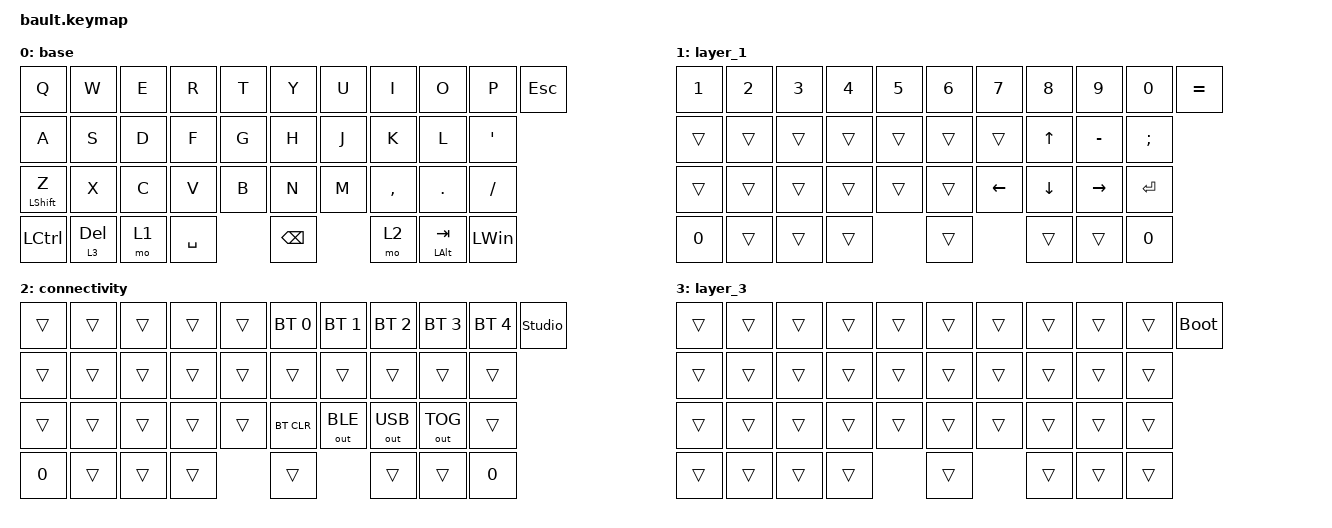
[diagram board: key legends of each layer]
#include <behaviors.dtsi>
#include <dt-bindings/zmk/bt.h>
#include <dt-bindings/zmk/keys.h>
#include <dt-bindings/zmk/outputs.h>

/ {
    behaviors {
        hm: homerow_mods {
            compatible = "zmk,behavior-hold-tap";
            display-name = "Homerow Mods";
            bindings = <&kp>, <&kp>;

            #binding-cells = <2>;
            tapping-term-ms = <200>;
            quick-tap-ms = <180>;
            require-prior-idle-ms = <0>;
            flavor = "tap-preferred";
        };
    };

    combos {
        compatible = "zmk,combos";

        tab-on-bottom-right-two {
            bindings = <&kp TAB>;
            key-positions = <31 32>;
        };
    };

    keymap {
        compatible = "zmk,keymap";

        base {
            bindings = <
&kp Q             &kp W         &kp E  &kp R      &kp T  &kp Y          &kp U  &kp I      &kp O             &kp P             &kp ESCAPE
&kp A             &kp S         &kp D  &kp F      &kp G  &kp H          &kp J  &kp K      &kp L             &kp SINGLE_QUOTE
&hm LEFT_SHIFT Z  &kp X         &kp C  &kp V      &kp B  &kp N          &kp M  &kp COMMA  &kp PERIOD        &kp SLASH
&kp LCTRL         &lt 3 DELETE  &mo 1  &kp SPACE         &kp BACKSPACE         &mo 2      &mt LEFT_ALT TAB  &kp LEFT_WIN
            >;
        };

        layer_1 {
            bindings = <
&kp N1  &kp N2  &kp N3  &kp N4  &kp N5  &kp N6  &kp N7    &kp N8    &kp N9     &kp N0     &kp EQUAL
&trans  &trans  &trans  &trans  &trans  &trans  &trans    &kp UP    &kp MINUS  &kp SEMI
&trans  &trans  &trans  &trans  &trans  &trans  &kp LEFT  &kp DOWN  &kp RIGHT  &kp ENTER
&kp N0  &trans  &trans  &trans          &trans            &trans    &trans     &kp N0
            >;
        };

        connectivity {
            bindings = <
&trans  &trans  &trans  &trans  &trans  &bt BT_SEL 0  &bt BT_SEL 1  &bt BT_SEL 2  &bt BT_SEL 3  &bt BT_SEL 4  &studio_unlock
&trans  &trans  &trans  &trans  &trans  &trans        &trans        &trans        &trans        &trans
&trans  &trans  &trans  &trans  &trans  &bt BT_CLR    &out OUT_BLE  &out OUT_USB  &out OUT_TOG  &trans
&kp N0  &trans  &trans  &trans          &trans                      &trans        &trans        &kp N0
            >;
        };

        layer_3 {
            bindings = <
&trans  &trans  &trans  &trans  &trans  &trans  &trans  &trans  &trans  &trans  &bootloader
&trans  &trans  &trans  &trans  &trans  &trans  &trans  &trans  &trans  &trans
&trans  &trans  &trans  &trans  &trans  &trans  &trans  &trans  &trans  &trans
&trans  &trans  &trans  &trans          &trans          &trans  &trans  &trans
            >;
        };
    };
};
